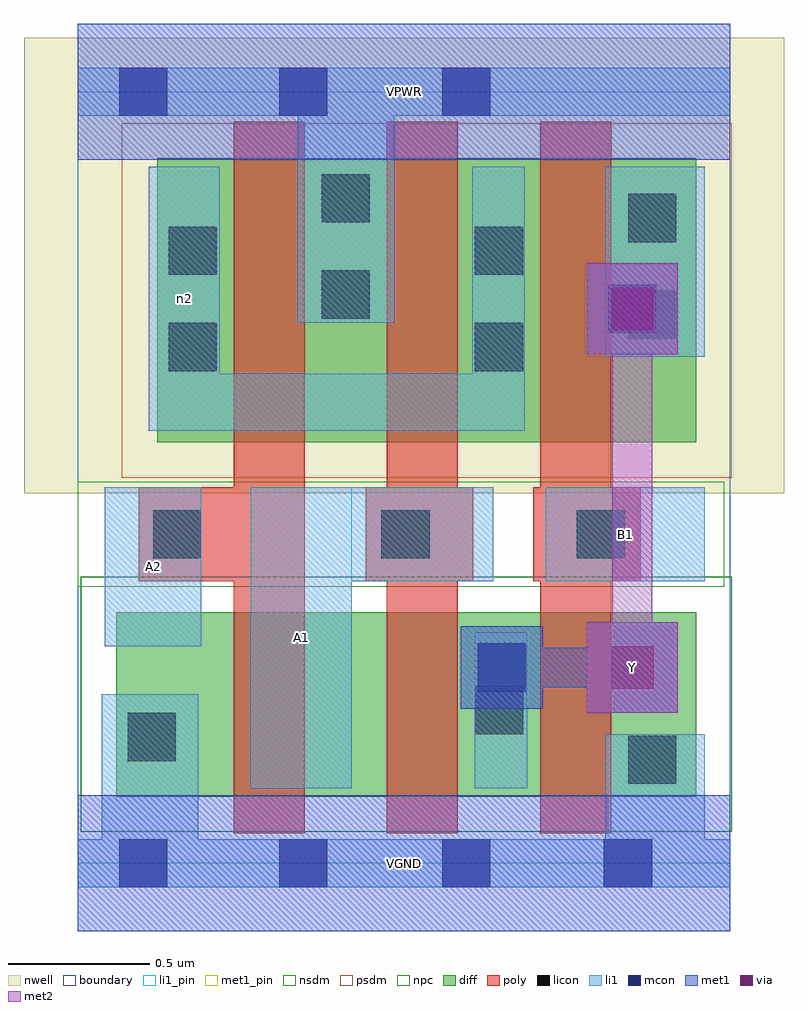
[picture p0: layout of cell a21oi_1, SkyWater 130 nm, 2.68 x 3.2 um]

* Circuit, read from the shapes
.subckt a21oi_1 A1 A2 B1 VGND VPWR Y n2
XM1 n1 A2 VGND VSUBS sky130_fd_pr__nfet_01v8 w=0.65 l=0.25
XM2 Y A1 n1 VSUBS sky130_fd_pr__nfet_01v8 w=0.65 l=0.25
XM3 VGND B1 Y VSUBS sky130_fd_pr__nfet_01v8 w=0.65 l=0.25
XM4 VPWR A2 n2 n3 sky130_fd_pr__pfet_01v8 w=1 l=0.25
XM5 n2 A1 VPWR n3 sky130_fd_pr__pfet_01v8 w=1 l=0.25
XM6 Y B1 n2 n3 sky130_fd_pr__pfet_01v8 w=1 l=0.25
.ends

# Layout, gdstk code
import gdstk
lib = gdstk.Library(unit=1e-6, precision=1e-09)
def R(c, l, rs):  # rectangles x0, y0, x1, y1
    for r in rs: c.add(gdstk.rectangle(r[:2], r[2:], *l))
def A(c, l, x, y, w, h, nx, ny, dx, dy):  # array of equal rectangles
    R(c, l, [(x+i*dx, y+j*dy, x+i*dx+w, y+j*dy+h) for i in range(nx) for j in range(ny)])
nwell = (64, 20)
diff = (65, 20)
poly = (66, 20)
licon = (66, 44)
li1_pin = (67, 16)
li1 = (67, 20)
mcon = (67, 44)
met1_pin = (68, 16)
met1 = (68, 20)
via = (68, 44)
met2 = (69, 20)
nsdm = (93, 44)
psdm = (94, 20)
npc = (95, 20)
boundary = (235, 4)

a21oi_1 = lib.new_cell('a21oi_1')
R(a21oi_1, nwell, [(-0.19,1.305,2.49,2.91), (0,1.305,2.3,2.91)])
R(a21oi_1, diff, [(0.135,0.235,2.18,0.885), (0.28,1.485,2.18,2.485)])
A(a21oi_1, poly, 0.55, 0.105, 0.25, 2.51, 3, 1, 0.54, 0)
R(a21oi_1, poly, [(0.215,0.995,0.8,1.325), (1.015,0.995,1.395,1.325), (1.605,0.995,1.985,1.325)])
R(a21oi_1, licon, [(1.94,0.28,2.11,0.45), (0.175,0.36,0.345,0.53), (1.4,0.455,1.57,0.625), (0.265,1.075,0.435,1.245), (1.07,1.075,1.24,1.245), (1.76,1.075,1.93,1.245), (0.32,1.735,0.49,1.905), (1.4,1.735,1.57,1.905), (1.94,1.85,2.11,2.02), (0.86,1.92,1.03,2.09), (0.32,2.075,0.49,2.245), (1.4,2.075,1.57,2.245), (1.94,2.19,2.11,2.36), (0.86,2.26,1.03,2.43)])
R(a21oi_1, li1_pin, [(0.61,0.265,0.965,1.325), (0.095,0.765,0.435,1.325), (1.65,0.995,2.21,1.325)])
R(a21oi_1, li1, [(0,-0.085,2.3,0.085), (0.085,-0.085,0.425,0.595), (1.86,-0.085,2.21,0.455), (0.61,0.265,0.965,1.325), (1.4,0.265,1.585,0.815), (0.095,0.765,0.435,1.325), (0.61,0.995,1.465,1.325), (1.65,0.995,2.21,1.325), (0.25,1.525,0.5,2.455), (0.25,1.525,1.575,1.725), (1.39,1.525,1.575,2.455), (1.86,1.785,2.21,2.455), (0.775,1.905,1.115,2.805), (0,2.635,2.3,2.805)])
R(a21oi_1, mcon, [(0.145,-0.085,0.315,0.085), (0.71,-0.085,0.88,0.085), (1.285,-0.085,1.455,0.085), (1.855,-0.085,2.025,0.085), (1.41,0.605,1.58,0.775), (1.87,1.87,2.04,2.04), (0.145,2.635,0.315,2.805), (0.71,2.635,0.88,2.805), (1.285,2.635,1.455,2.805)])
R(a21oi_1, met1_pin, [(0,-0.24,2.3,0.24), (1.795,0.53,2.115,0.85), (0,2.48,2.3,2.96)])
R(a21oi_1, met1, [(0,-0.24,2.3,0.24), (1.795,0.53,2.115,0.85), (1.35,0.545,1.64,0.835), (1.425,0.62,2.025,0.76), (1.795,1.795,2.115,2.115), (1.81,1.81,2.1,2.1), (0,2.48,2.3,2.96)])
R(a21oi_1, via, [(1.88,0.615,2.03,0.765), (1.88,1.88,2.03,2.03)])
R(a21oi_1, met2, [(1.795,0.53,2.115,0.85), (1.885,0.62,2.025,2.025), (1.795,1.795,2.115,2.115)])
R(a21oi_1, nsdm, [(0.01,0.11,2.305,1.01)])
R(a21oi_1, psdm, [(0.155,1.36,2.305,2.61)])
R(a21oi_1, npc, [(0,0.975,2.28,1.345)])
R(a21oi_1, boundary, [(0,0,2.3,2.72)])
a21oi_1.add(gdstk.Label('A1', (0.787,0.795), layer=67, texttype=5))
a21oi_1.add(gdstk.Label('A2', (0.265,1.045), layer=67, texttype=5))
a21oi_1.add(gdstk.Label('B1', (1.93,1.16), layer=67, texttype=5))
a21oi_1.add(gdstk.Label('n2', (0.375,1.99), layer=67, texttype=5))
a21oi_1.add(gdstk.Label('Y', (1.955,0.69), layer=68, texttype=5))
a21oi_1.add(gdstk.Label('VPWR', (1.15,2.72), layer=68, texttype=5))
a21oi_1.add(gdstk.Label('VGND', (1.15,0), layer=68, texttype=5))
a21oi_1.add(gdstk.Label('A1', (0.787,0.795), layer=67, texttype=16))
a21oi_1.add(gdstk.Label('A2', (0.265,1.045), layer=67, texttype=16))
a21oi_1.add(gdstk.Label('B1', (1.93,1.16), layer=67, texttype=16))
a21oi_1.add(gdstk.Label('Y', (1.955,0.69), layer=68, texttype=16))
a21oi_1.add(gdstk.Label('VPWR', (1.15,2.72), layer=68, texttype=16))
a21oi_1.add(gdstk.Label('VGND', (1.15,0), layer=68, texttype=16))

lib.write_gds('a21oi_1.gds')
